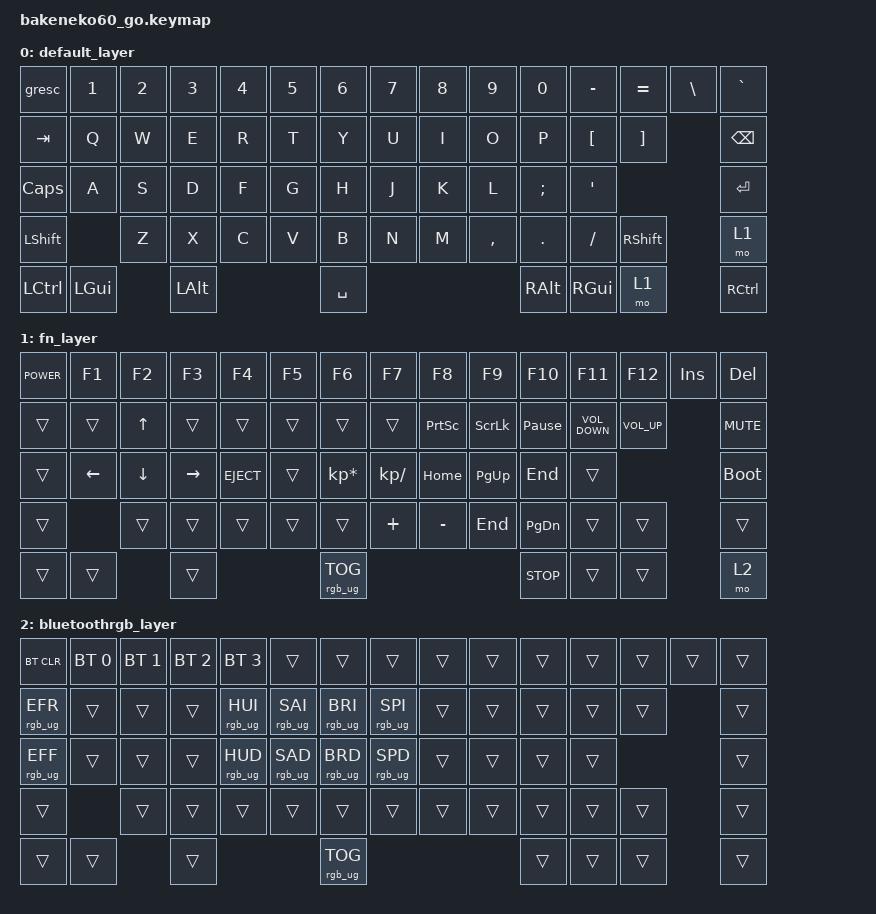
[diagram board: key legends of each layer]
/*
 * Copyright (c) 2023 Andrew Kannan
 *
 * SPDX-License-Identifier: MIT
 */

#include <behaviors.dtsi>
#include <dt-bindings/zmk/bt.h>
#include <dt-bindings/zmk/keys.h>
#include <dt-bindings/zmk/rgb.h>

/ {
    keymap {
        compatible = "zmk,keymap";

        default_layer {
            // ------------------------------------------------------------------------------------------
            // | ESC |  1  |  2  |  3  |  4  |  5  |  6  |  7  |  8  |  9  |  0  |  -  |  =  | BKSP|BKSP|
            // | TAB  |  Q  |  W  |  E  |  R  |  T  |  Y  |  U  |  I  |  O  |  P  |  [  |  ]  |   "|"   |
            // | CAPS  |  A  |  S  |  D  |  F  |  G  |  H  |  J  |  K  |  L  |  ;  |  '  |     ENTER    |
            // |  SHIFT  |  Z  |  X  |  C  |  V  |  B  |  N  |  M  |  ,  |  .  |  /  |  SHIFT  | MO(1)  |
            // |  CTL  |  WIN  |  ALT  |            SPACE              |  ALT  |  WIN  |  MO(1) |  CTL  |
            // ------------------------------------------------------------------------------------------

            bindings = <
&gresc     &kp N1    &kp N2  &kp N3    &kp N4  &kp N5  &kp N6     &kp N7  &kp N8  &kp N9     &kp N0    &kp MINUS  &kp EQUAL  &kp BACKSLASH  &kp GRAVE
&kp TAB    &kp Q     &kp W   &kp E     &kp R   &kp T   &kp Y      &kp U   &kp I   &kp O      &kp P     &kp LBKT   &kp RBKT                  &kp BACKSPACE
&kp CLCK   &kp A     &kp S   &kp D     &kp F   &kp G   &kp H      &kp J   &kp K   &kp L      &kp SEMI  &kp SQT                              &kp RET
&kp LSHFT            &kp Z   &kp X     &kp C   &kp V   &kp B      &kp N   &kp M   &kp COMMA  &kp DOT   &kp FSLH   &kp RSHFT                 &mo 1
&kp LCTRL  &kp LGUI          &kp LALT                  &kp SPACE                             &kp RALT  &kp RGUI   &mo 1                     &kp RCTRL
            >;
        };

        fn_layer {
            // ------------------------------------------------------------------------------------------------
            // |    `   | F1  | F2  | F3  | F4  | F5  | F6  | F7  | F8  | F9  | F10  | F11 | F12 |     | DEL  |
            // | EFCT REV|   |  UP |   | HUEUP | SATUP | BRIUP | SPDUP |      |  PGUP |    |     |    |       |
            // | EFCT FWD | LT |  DN  | RT | HUEDN | SATDN | BRIDN | SPDDN | HOME | PGDN | END  |  | BOOTLDR  |
            // |             |     |      |      |     |     |     |     |     |     |     |         |        |
            // |         |      |      |             TOG RGB                | PRT SCR |       |       |  MO(2)|
            // ------------------------------------------------------------------------------------------------

            bindings = <
&kp K_POWER  &kp F1    &kp F2    &kp F3     &kp F4       &kp F5  &kp F6           &kp F7         &kp F8           &kp F9          &kp F10          &kp F11            &kp F12       &kp INS  &kp DEL
&trans       &trans    &kp UP    &trans     &trans       &trans  &trans           &trans         &kp PRINTSCREEN  &kp SCROLLLOCK  &kp PAUSE_BREAK  &kp C_VOLUME_DOWN  &kp C_VOL_UP           &kp K_MUTE
&trans       &kp LEFT  &kp DOWN  &kp RIGHT  &kp K_EJECT  &trans  &kp KP_MULTIPLY  &kp KP_DIVIDE  &kp HOME         &kp PG_UP       &kp END          &trans                                    &bootloader
&trans                 &trans    &trans     &trans       &trans  &trans           &kp PLUS       &kp MINUS        &kp END         &kp PG_DN        &trans             &trans                 &trans
&trans       &trans              &trans                          &rgb_ug RGB_TOG                                                  &kp K_STOP       &trans             &trans                 &mo 2
            >;
        };

        bluetoothrgb_layer {
            // ------------------------------------------------------------------------------------------------
            // | BT CLR |     |     |     |     |     |     |     |     |     |     |    |    |       |       |
            // |  BT 1   |   |     |   |       |       |       |       |   |     |    |     |     |           |
            // |   BT 2   |    |      |    |       |       |       |       |      |      |      |  |   Reset  |
            // |    BT 3     |     |      |      |     |     |     |     |     |     |     |         |        |
            // |   BT 4  |      |      |                                    |         |       |       |       |
            // ------------------------------------------------------------------------------------------------

            bindings = <
&bt BT_CLR       &bt BT_SEL 0  &bt BT_SEL 1  &bt BT_SEL 2  &bt BT_SEL 3     &trans           &trans           &trans           &trans  &trans  &trans  &trans  &trans  &trans  &trans
&rgb_ug RGB_EFR  &trans        &trans        &trans        &rgb_ug RGB_HUI  &rgb_ug RGB_SAI  &rgb_ug RGB_BRI  &rgb_ug RGB_SPI  &trans  &trans  &trans  &trans  &trans          &trans
&rgb_ug RGB_EFF  &trans        &trans        &trans        &rgb_ug RGB_HUD  &rgb_ug RGB_SAD  &rgb_ug RGB_BRD  &rgb_ug RGB_SPD  &trans  &trans  &trans  &trans                  &trans
&trans                         &trans        &trans        &trans           &trans           &trans           &trans           &trans  &trans  &trans  &trans  &trans          &trans
&trans           &trans                      &trans                                          &rgb_ug RGB_TOG                                   &trans  &trans  &trans          &trans
            >;
        };
    };

    combos {
        compatible = "zmk,combos";

        combo_bt {
            timeout-ms = <50>;
            key-positions = <61 62>;
            bindings = <&mo 2>;
        };
    };
};
